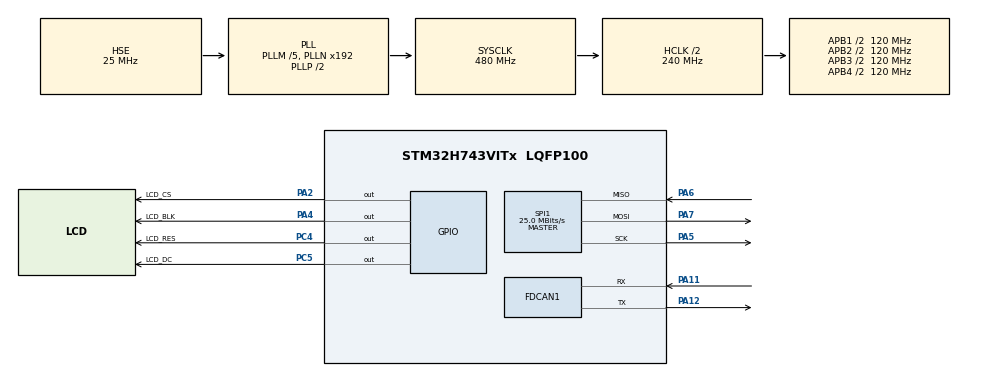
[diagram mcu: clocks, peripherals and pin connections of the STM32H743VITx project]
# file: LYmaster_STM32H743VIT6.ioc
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FDCAN1.AutoRetransmission=ENABLE
FDCAN1.CalculateBaudRateNominal=1000000
FDCAN1.CalculateTimeBitNominal=1000
FDCAN1.CalculateTimeQuantumNominal=100.0
FDCAN1.ClockCalibrationCCU=DISABLE
FDCAN1.DataPrescaler=1
FDCAN1.DataTimeSeg1=1
FDCAN1.DataTimeSeg2=1
FDCAN1.NominalPrescaler=10
FDCAN1.NominalSyncJumpWidth=1
FDCAN1.NominalTimeSeg1=7
FDCAN1.NominalTimeSeg2=2
FDCAN1.RxFifo0ElmtsNbr=32
FDCAN1.TxFifoQueueElmtsNbr=16
FREERTOS.Tasks01=defaultTask,24,128,StartDefaultTask,Default,NULL,Dynamic,NULL,NULL;fdcanRxTx,17,128,fdcanRxTxTask01,Default,NULL,Dynamic,NULL,NULL;driveUpdata,16,128,driveUpdataTask01,Default,NULL,Dynamic,NULL,NULL
FREERTOS.configENABLE_FPU=1
Mcu.Family=STM32H7
Mcu.Name=STM32H743VITx
Mcu.Package=LQFP100
NVIC.PriorityGroup=NVIC_PRIORITYGROUP_4
NVIC.TIM17_IRQn=true\:15\:0\:false\:false\:true\:false\:false\:true\:true
NVIC.TimeBase=TIM17_IRQn
NVIC.TimeBaseIP=TIM17
PA11.GPIO_PuPd=GPIO_NOPULL
PA11.Mode=FDCAN_Activate
PA11.Signal=FDCAN1_RX
PA12.GPIO_PuPd=GPIO_NOPULL
PA12.Mode=FDCAN_Activate
PA12.Signal=FDCAN1_TX
PA13\ (JTMS/SWDIO).Mode=Serial_Wire
PA13\ (JTMS/SWDIO).Signal=DEBUG_JTMS-SWDIO
PA14\ (JTCK/SWCLK).Mode=Serial_Wire
PA14\ (JTCK/SWCLK).Signal=DEBUG_JTCK-SWCLK
PA2.GPIO_Label=LCD_CS
PA2.Signal=GPIO_Output
PA4.GPIO_Label=LCD_BLK
PA4.Signal=GPIO_Output
PA5.Mode=Full_Duplex_Master
PA5.Signal=SPI1_SCK
PA6.Mode=Full_Duplex_Master
PA6.Signal=SPI1_MISO
PA7.Mode=Full_Duplex_Master
PA7.Signal=SPI1_MOSI
PC14-OSC32_IN\ (OSC32_IN).Mode=LSE-External-Oscillator
PC14-OSC32_IN\ (OSC32_IN).Signal=RCC_OSC32_IN
PC15-OSC32_OUT\ (OSC32_OUT).Mode=LSE-External-Oscillator
PC15-OSC32_OUT\ (OSC32_OUT).Signal=RCC_OSC32_OUT
PC4.GPIO_Label=LCD_RES
PC4.Signal=GPIO_Output
PC5.GPIO_Label=LCD_DC
PC5.Signal=GPIO_Output
PH0-OSC_IN\ (PH0).Mode=HSE-External-Oscillator
PH0-OSC_IN\ (PH0).Signal=RCC_OSC_IN
PH1-OSC_OUT\ (PH1).Mode=HSE-External-Oscillator
PH1-OSC_OUT\ (PH1).Signal=RCC_OSC_OUT
ProjectManager.HeapSize=0x200
ProjectManager.StackSize=0x400
ProjectManager.TargetToolchain=MDK-ARM V5.32
RCC.ADCFreq_Value=200000000
RCC.APB1Freq_Value=120000000
RCC.APB2Freq_Value=120000000
RCC.APB3Freq_Value=120000000
RCC.APB4Freq_Value=120000000
RCC.CortexFreq_Value=480000000
RCC.D1PPRE=RCC_APB3_DIV2
RCC.D2PPRE1=RCC_APB1_DIV2
RCC.D2PPRE2=RCC_APB2_DIV2
RCC.D3PPRE=RCC_APB4_DIV2
RCC.DIVM1=5
RCC.DIVM2=2
RCC.DIVM3=5
RCC.DIVN1=192
RCC.DIVN2=16
RCC.DIVN3=192
RCC.DIVP2=1
RCC.FDCANCLockSelection=RCC_FDCANCLKSOURCE_PLL2
RCC.HCLKFreq_Value=240000000
RCC.HPRE=RCC_HCLK_DIV2
RCC.PLL2FRACN=0
RCC.PLLFRACN=0
RCC.PLLSourceVirtual=RCC_PLLSOURCE_HSE
RCC.SPI123CLockSelection=RCC_SPI123CLKSOURCE_PLL2
RCC.SYSCLKFreq_VALUE=480000000
RCC.SYSCLKSource=RCC_SYSCLKSOURCE_PLLCLK
RCC.USBFreq_Value=480000000
SPI1.BaudRatePrescaler=SPI_BAUDRATEPRESCALER_8
SPI1.CalculateBaudRate=25.0 MBits/s
SPI1.DataSize=SPI_DATASIZE_8BIT
SPI1.Direction=SPI_DIRECTION_2LINES
SPI1.Mode=SPI_MODE_MASTER
SPI1.VirtualType=VM_MASTER
VP_FREERTOS_VS_CMSIS_V2.Mode=CMSIS_V2
VP_SYS_VS_tim17.Mode=TIM17
board=custom

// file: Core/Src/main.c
/* USER CODE BEGIN Header */
/**
  ******************************************************************************
  * @file           : main.c
  * @brief          : Main program body
  ******************************************************************************
  * @attention
  *
  * Copyright (c) 2022 STMicroelectronics.
  * All rights reserved.
  *
  * This software is licensed under terms that can be found in the LICENSE file
  * in the root directory of this software component.
  * If no LICENSE file comes with this software, it is provided AS-IS.
  *
  ******************************************************************************
  */
/* USER CODE END Header */
#include "main.h"
#include "cmsis_os.h"
#include "fdcan.h"
#include "spi.h"
#include "gpio.h"

void SystemClock_Config(void);
void PeriphCommonClock_Config(void);
void MX_FREERTOS_Init(void);

int main(void)
{

  /* MCU Configuration--------------------------------------------------------*/

  /* Reset of all peripherals, Initializes the Flash interface and the Systick. */
  HAL_Init();

  /* Configure the system clock */
  SystemClock_Config();

/* Configure the peripherals common clocks */
  PeriphCommonClock_Config();

  /* Initialize all configured peripherals */
  MX_GPIO_Init();
  MX_SPI1_Init();
  MX_FDCAN1_Init();
  /* USER CODE BEGIN 2 */

	//LCD_Init();//LCD初始化

  /* USER CODE END 2 */

  /* Init scheduler */
  osKernelInitialize();  /* Call init function for freertos objects (in freertos.c) */
  MX_FREERTOS_Init();

  /* Start scheduler */
  osKernelStart();

  /* We should never get here as control is now taken by the scheduler */
  /* Infinite loop */
  while (1)
  {

  }
}

void SystemClock_Config(void)
{
  RCC_OscInitTypeDef RCC_OscInitStruct = {0};
  RCC_ClkInitTypeDef RCC_ClkInitStruct = {0};

  /** Supply configuration update enable
  */
  HAL_PWREx_ConfigSupply(PWR_LDO_SUPPLY);

  /** Configure the main internal regulator output voltage
  */
  __HAL_PWR_VOLTAGESCALING_CONFIG(PWR_REGULATOR_VOLTAGE_SCALE1);

  while(!__HAL_PWR_GET_FLAG(PWR_FLAG_VOSRDY)) {}

  __HAL_RCC_SYSCFG_CLK_ENABLE();
  __HAL_PWR_VOLTAGESCALING_CONFIG(PWR_REGULATOR_VOLTAGE_SCALE0);

  while(!__HAL_PWR_GET_FLAG(PWR_FLAG_VOSRDY)) {}

  /** Macro to configure the PLL clock source
  */
  __HAL_RCC_PLL_PLLSOURCE_CONFIG(RCC_PLLSOURCE_HSE);

  /** Initializes the RCC Oscillators according to the specified parameters
  * in the RCC_OscInitTypeDef structure.
  */
  RCC_OscInitStruct.OscillatorType = RCC_OSCILLATORTYPE_HSE;
  RCC_OscInitStruct.HSEState = RCC_HSE_ON;
  RCC_OscInitStruct.PLL.PLLState = RCC_PLL_ON;
  RCC_OscInitStruct.PLL.PLLSource = RCC_PLLSOURCE_HSE;
  RCC_OscInitStruct.PLL.PLLM = 5;
  RCC_OscInitStruct.PLL.PLLN = 192;
  RCC_OscInitStruct.PLL.PLLP = 2;
  RCC_OscInitStruct.PLL.PLLQ = 2;
  RCC_OscInitStruct.PLL.PLLR = 2;
  RCC_OscInitStruct.PLL.PLLRGE = RCC_PLL1VCIRANGE_2;
  RCC_OscInitStruct.PLL.PLLVCOSEL = RCC_PLL1VCOWIDE;
  RCC_OscInitStruct.PLL.PLLFRACN = 0;
  if (HAL_RCC_OscConfig(&RCC_OscInitStruct) != HAL_OK)
  {
    Error_Handler();
  }

  /** Initializes the CPU, AHB and APB buses clocks
  */
  RCC_ClkInitStruct.ClockType = RCC_CLOCKTYPE_HCLK|RCC_CLOCKTYPE_SYSCLK
                              |RCC_CLOCKTYPE_PCLK1|RCC_CLOCKTYPE_PCLK2
                              |RCC_CLOCKTYPE_D3PCLK1|RCC_CLOCKTYPE_D1PCLK1;
  RCC_ClkInitStruct.SYSCLKSource = RCC_SYSCLKSOURCE_PLLCLK;
  RCC_ClkInitStruct.SYSCLKDivider = RCC_SYSCLK_DIV1;
  RCC_ClkInitStruct.AHBCLKDivider = RCC_HCLK_DIV2;
  RCC_ClkInitStruct.APB3CLKDivider = RCC_APB3_DIV2;
  RCC_ClkInitStruct.APB1CLKDivider = RCC_APB1_DIV2;
  RCC_ClkInitStruct.APB2CLKDivider = RCC_APB2_DIV2;
  RCC_ClkInitStruct.APB4CLKDivider = RCC_APB4_DIV2;

  if (HAL_RCC_ClockConfig(&RCC_ClkInitStruct, FLASH_LATENCY_4) != HAL_OK)
  {
    Error_Handler();
  }
}

void PeriphCommonClock_Config(void)
{
  RCC_PeriphCLKInitTypeDef PeriphClkInitStruct = {0};

  /** Initializes the peripherals clock
  */
  PeriphClkInitStruct.PeriphClockSelection = RCC_PERIPHCLK_SPI1|RCC_PERIPHCLK_FDCAN;
  PeriphClkInitStruct.PLL2.PLL2M = 2;
  PeriphClkInitStruct.PLL2.PLL2N = 16;
  PeriphClkInitStruct.PLL2.PLL2P = 1;
  PeriphClkInitStruct.PLL2.PLL2Q = 2;
  PeriphClkInitStruct.PLL2.PLL2R = 2;
  PeriphClkInitStruct.PLL2.PLL2RGE = RCC_PLL2VCIRANGE_3;
  PeriphClkInitStruct.PLL2.PLL2VCOSEL = RCC_PLL2VCOWIDE;
  PeriphClkInitStruct.PLL2.PLL2FRACN = 0;
  PeriphClkInitStruct.Spi123ClockSelection = RCC_SPI123CLKSOURCE_PLL2;
  PeriphClkInitStruct.FdcanClockSelection = RCC_FDCANCLKSOURCE_PLL2;
  if (HAL_RCCEx_PeriphCLKConfig(&PeriphClkInitStruct) != HAL_OK)
  {
    Error_Handler();
  }
}

void HAL_TIM_PeriodElapsedCallback(TIM_HandleTypeDef *htim)
{
  if (htim->Instance == TIM17) {
    HAL_IncTick();
  }
}

void Error_Handler(void)
{
  __disable_irq();
  while (1)
  {
  }
}

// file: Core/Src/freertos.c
/* USER CODE BEGIN Header */
/**
  ******************************************************************************
  * File Name          : freertos.c
  * Description        : Code for freertos applications
  ******************************************************************************
  * @attention
  *
  * Copyright (c) 2022 STMicroelectronics.
  * All rights reserved.
  *
  * This software is licensed under terms that can be found in the LICENSE file
  * in the root directory of this software component.
  * If no LICENSE file comes with this software, it is provided AS-IS.
  *
  ******************************************************************************
  */
/* USER CODE END Header */

#include "FreeRTOS.h"
#include "task.h"
#include "main.h"
#include "cmsis_os.h"

/* USER CODE BEGIN Includes */

#include "fdcan.h"

/* USER CODE END Includes */

/* USER CODE BEGIN Variables */

volatile uint8_t drive_Switch=0x77;         //驱动板开关机：开0x77；关0x88
volatile float brightness=0;                //LED灯输出亮度0.0-100.0%
volatile uint16_t color_Temperature=4600;      //LED灯输出色温2700k-6500k
volatile uint8_t fan_Ratio=0x64;              //风扇输出参数范围0x00-0x64对应DC0-12V
volatile uint8_t drive_TxData[16]={0};      //发送给驱动板的数组
volatile uint8_t drive_RxData[16]={0};      //从驱动板接受的数组

volatile uint16_t first_electric_current=0; //第一路电流值0000-1000（等效为0.0%-100.0%）
volatile uint16_t second_electric_current=0;//第二路电流值0000-1000（等效为0.0%-100.0%）
volatile uint16_t third_electric_current=0; //第三路电流值0000-1000（等效为0.0%-100.0%）
volatile uint16_t fourth_electric_current=0;//第四路电流值0000-1000（等效为0.0%-100.0%）
volatile uint16_t sum_electric_current=0;   //总的电流值0000-4000
volatile uint16_t set_LED_power=0;          //设定的LED功率值

volatile uint8_t drive_State_Update=pdTRUE;      //驱动状态更新

/* USER CODE END Variables */
/* Definitions for defaultTask */
osThreadId_t defaultTaskHandle;
const osThreadAttr_t defaultTask_attributes = {
  .name = "defaultTask",
  .stack_size = 128 * 4,
  .priority = (osPriority_t) osPriorityNormal,
};
/* Definitions for fdcanRxTx */
osThreadId_t fdcanRxTxHandle;
const osThreadAttr_t fdcanRxTx_attributes = {
  .name = "fdcanRxTx",
  .stack_size = 128 * 4,
  .priority = (osPriority_t) osPriorityBelowNormal1,
};
/* Definitions for driveUpdata */
osThreadId_t driveUpdataHandle;
const osThreadAttr_t driveUpdata_attributes = {
  .name = "driveUpdata",
  .stack_size = 128 * 4,
  .priority = (osPriority_t) osPriorityBelowNormal,
};

/* USER CODE BEGIN FunctionPrototypes */

unsigned char even_parity(uint8_t *data, uint16_t start_i, uint16_t start_j);

/* USER CODE END FunctionPrototypes */

void StartDefaultTask(void *argument);
void fdcanRxTxTask01(void *argument);
void driveUpdataTask01(void *argument);

void MX_FREERTOS_Init(void); /* (MISRA C 2004 rule 8.1) */

void MX_FREERTOS_Init(void) {

  /* Create the thread(s) */
  /* creation of defaultTask */
  defaultTaskHandle = osThreadNew(StartDefaultTask, NULL, &defaultTask_attributes);

  /* creation of fdcanRxTx */
  fdcanRxTxHandle = osThreadNew(fdcanRxTxTask01, NULL, &fdcanRxTx_attributes);

  /* creation of driveUpdata */
  driveUpdataHandle = osThreadNew(driveUpdataTask01, NULL, &driveUpdata_attributes);

}

void StartDefaultTask(void *argument)
{
  /* USER CODE BEGIN StartDefaultTask */
  /* Infinite loop */
  for(;;)
  {
		//SPI1_TxData();
		//LCD_ShowString(0,40,"FPS:",WHITE,BLACK,24,0);
		//LCD_Fill(0,0,LCD_W,LCD_H,WHITE);
		//LCD_Fill(0,0,LCD_W,LCD_H,BLACK);
    osDelay(1);
  }
  /* USER CODE END StartDefaultTask */
}

void fdcanRxTxTask01(void *argument)
{
  /* USER CODE BEGIN fdcanRxTxTask01 */
  /* Infinite loop */
  for(;;)
  {
		//先收后发
		Can_receivedata(CanRxData, &can_RxID);

		//while (drive_State_Update==pdTRUE) //没有按键输入任务 暂时关闭判断
    //{
      //drive_State_Update=pdFALSE;
      //将drive_TxData数组通过CAN发送给下位机
      for (uint16_t i = 0; i < 2; i++)
      {
        for (uint16_t j = 0; j < 8; j++)
        {
          /* code */
          if(i==0) {CanTxData[j]=drive_TxData[j];}
          else {CanTxData[j]=drive_TxData[j+8];}
        }
        Can_senddata(CanTxData,CANTXDATALONG);
        osDelay(10);//避免帧冲突
      }
    //}

    osDelay(1);
  }
  /* USER CODE END fdcanRxTxTask01 */
}

void driveUpdataTask01(void *argument)
{
  /* USER CODE BEGIN driveUpdataTask01 */
  /* Infinite loop */
  for(;;)
  {
		float cold_Out=0;                   //定义冷色温输出值0.0-100%
    float warm_Out=0;                   //定义暖色温输出值0.0-100%
    uint8_t even_parity_flag = 0; //偶校验标志位
    uint16_t first_electric_current=0;  //第一路电流值0000-1000（等效为0.0%-100.0%）
    uint16_t second_electric_current=0; //第二路电流值0000-1000（等效为0.0%-100.0%）
    uint16_t third_electric_current=0;  //第三路电流值0000-1000（等效为0.0%-100.0%）
    uint16_t fourth_electric_current=0; //第四路电流值0000-1000（等效为0.0%-100.0%）
    uint16_t sum_electric_current=0;    //总的电流值0000-4000
    uint16_t set_LED_power=0;           //设定的LED功率值

    //输入LED灯亮度与色温，计算CCT模式冷暖色温两路输出
    cct(brightness,color_Temperature,&cold_Out,&warm_Out);

    //将冷暖输出进行格式转化并赋四路电流数值（这里假设第一路是冷色温）
    first_electric_current=(cold_Out*1000)+0.5;//+0.5实现float类型转换为uint16_t时四舍五入
    second_electric_current=(cold_Out*1000)+0.5;
    third_electric_current=(warm_Out*1000)+0.5;
    fourth_electric_current=(warm_Out*1000)+0.5;

    //安全检查
    //对四路电流输出值进行限幅
    if(first_electric_current>1000)    {first_electric_current=1000;}
    else if(first_electric_current<0)  {first_electric_current=0;}
    if(second_electric_current>1000)   {second_electric_current=1000;}
    else if(second_electric_current<0) {second_electric_current=0;}
    if(third_electric_current>1000)    {third_electric_current=1000;}
    else if(third_electric_current<0)  {third_electric_current=0;}
    if(fourth_electric_current>1000)   {fourth_electric_current=1000;}
    else if(fourth_electric_current<0) {fourth_electric_current=0;}

    //计算主控板设定的输出功率
    sum_electric_current=first_electric_current+second_electric_current+third_electric_current+fourth_electric_current;
    //判断LED功率是否超出1200W，超出则不输出
    if(sum_electric_current>2000){first_electric_current=second_electric_current=third_electric_current=fourth_electric_current=0;}
    set_LED_power= sum_electric_current *2400/(1000*4);

    drive_TxData[0] =0xaa; //第一帧帧头0xaa
    drive_TxData[1] =(first_electric_current / 256);//第一路恒流输出高八位0x00-0x0a
    drive_TxData[2] =(first_electric_current % 256);//第一路恒流输出低八位0x00-0x63
    drive_TxData[3] =(second_electric_current / 256);//第二路恒流输出高八位0x00-0x0a
    drive_TxData[4] =(second_electric_current % 256);//第二路恒流输出低八位0x00-0x63
    drive_TxData[5] =drive_Switch;//开0x77关0x88机
    even_parity_flag=even_parity(drive_TxData, 0, 5);
    drive_TxData[6] =even_parity_flag;//第一帧前6位偶校验
    drive_TxData[7] =0xfe;//第一帧帧尾

    drive_TxData[8] =0xbb;//第二帧帧头0xbb
    drive_TxData[9] =(third_electric_current / 256);//第三路恒流输出高八位0x00-0x0a
    drive_TxData[10]=(third_electric_current % 256);//第三路恒流输出低八位0x00-0x63
    drive_TxData[11]=(fourth_electric_current / 256);//第四路恒流输出高八位0x00-0x0a
    drive_TxData[12]=(fourth_electric_current % 256);//第四路恒流输出低八位0x00-0x63
    drive_TxData[13]=fan_Ratio;                     //第五路DC0-12V输出0x00-0x64
    even_parity_flag=even_parity(drive_TxData, 8, 13);
    drive_TxData[14]=even_parity_flag;//第二帧前6位偶校验
    drive_TxData[15]=0xff;//第二路帧尾0xff

    osDelay(1);
  }
  /* USER CODE END driveUpdataTask01 */
}

/* USER CODE BEGIN Application */

/*
* 偶校验2
* uint8_t *data 输入数组
* uint16_t start_i 开始校验数组序号（包含）
* uint16_t start_j 结束校验数组序号（包含）
*/

unsigned char even_parity(uint8_t *data, uint16_t start_i, uint16_t start_j)
{
    unsigned char parity = 0;
    unsigned char n_bits = 0;
    uint16_t data_long = 0;
    unsigned char value = 0;

    uint16_t i=start_i;
    data_long = start_j - start_i + 1;

    for (i=start_i; i < start_i+data_long; i++)
    {
      /* code */
      value = data[i];
			n_bits = sizeof(data[start_i]) * 8;
      while( n_bits >0)
      {
          parity += value & 1;
          value >>=1;
          n_bits -=1;
      }
    }

    /*
    * 当实际数据中“1”的个数为偶数，校验位是“1”，否则校验位是“0”
    */
    return (parity % 2) != 0;

}

/* USER CODE END Application */
